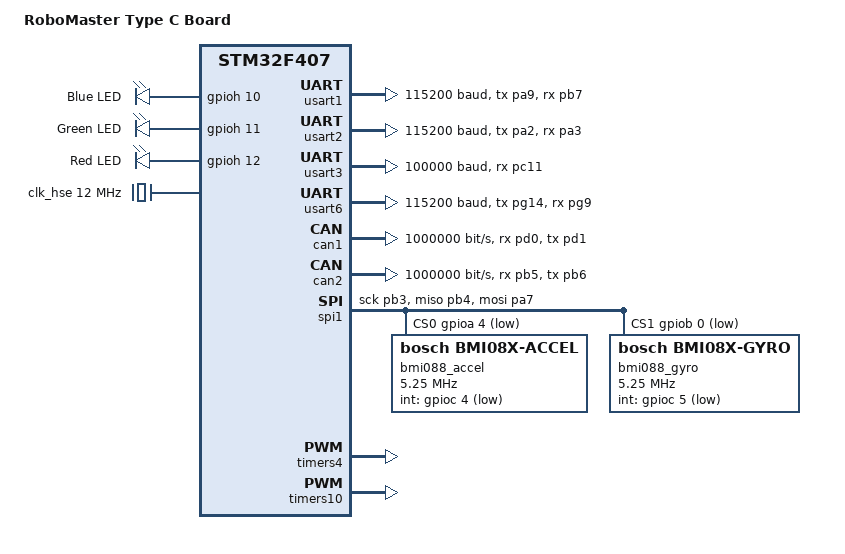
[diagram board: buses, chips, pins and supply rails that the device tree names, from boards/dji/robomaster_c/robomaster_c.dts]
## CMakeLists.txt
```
cmake_minimum_required(VERSION 3.20.0)

find_package(Zephyr REQUIRED HINTS $ENV{ZEPHYR_BASE})
project(unit5_app)

target_sources(app PRIVATE
	src/main.c
	src/dm4310_motor.c
	src/shell_commands.c
	src/linkage_kinematics.c
	src/leg_control.c
	src/motor_debug.c
	src/robot_ctrl.c
	src/protocol_service.c
	src/kinematics_test.c
)
```

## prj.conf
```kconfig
CONFIG_CAN=y
CONFIG_SERIAL=y
CONFIG_UART_ASYNC_API=y
CONFIG_UART_INTERRUPT_DRIVEN=y
CONFIG_PRINTK=y
CONFIG_CBPRINTF_FP_SUPPORT=y
CONFIG_GPIO=y
CONFIG_DMA=y

# Zephyr Shell (串口命令调试)
CONFIG_SHELL=y
CONFIG_SHELL_BACKEND_SERIAL=y
CONFIG_SHELL_STACK_SIZE=3072
CONFIG_KERNEL_SHELL=y

# CMSIS-DSP (arm_sqrt_f32 硬件开方加速)
CONFIG_CMSIS_DSP=y
CONFIG_CMSIS_DSP_FASTMATH=y
CONFIG_CMSIS_DSP_BASICMATH=y
```

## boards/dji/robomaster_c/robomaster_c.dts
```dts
/*
 * SPDX-License-Identifier: Apache-2.0
 *
 * Unit5 串口调试 DTS — USART6 @ 115200 (USB-TTL CH340 直连 PG14/PG9)
 * 注意: 板子丝印 UART1 (3-pin) 实际对应 STM32 USART6
 */

/dts-v1/;

#include <st/f4/stm32f407Xg.dtsi>
#include <st/f4/stm32f407i(e-g)hx-pinctrl.dtsi>
#include <zephyr/dt-bindings/dma/stm32_dma.h>
#include <zephyr/dt-bindings/gpio/gpio.h>

/ {
	model = "RoboMaster Type C Board";
	compatible = "dji,robomaster-c", "st,stm32f407";

	chosen {
		zephyr,console = &usart6;
		zephyr,shell-uart = &usart6;
		zephyr,sram = &sram0;
		zephyr,flash = &flash0;
		zephyr,dtcm = &ccm0;
		zephyr,canbus = &can1;
	};

	aliases {
		led0 = &blue_led;
		led1 = &green_led;
		led2 = &red_led;
		watchdog0 = &iwdg;
	};

	leds {
		compatible = "gpio-leds";

		blue_led: led_0 {
			gpios = <&gpioh 10 GPIO_ACTIVE_HIGH>;
			label = "Blue LED";
		};

		green_led: led_1 {
			gpios = <&gpioh 11 GPIO_ACTIVE_HIGH>;
			label = "Green LED";
		};

		red_led: led_2 {
			gpios = <&gpioh 12 GPIO_ACTIVE_HIGH>;
			label = "Red LED";
		};
	};
};

&clk_hse {
	clock-frequency = <DT_FREQ_M(12)>;
	status = "okay";
};

&pll {
	div-m = <6>;
	mul-n = <168>;
	div-p = <2>;
	div-q = <7>;
	clocks = <&clk_hse>;
	status = "okay";
};

&rcc {
	clocks = <&pll>;
	clock-frequency = <DT_FREQ_M(168)>;
	ahb-prescaler = <1>;
	apb1-prescaler = <4>;
	apb2-prescaler = <2>;
};

&usart1 {
	pinctrl-0 = <&usart1_tx_pa9 &usart1_rx_pb7>;
	pinctrl-names = "default";
	current-speed = <115200>;
	status = "okay";
};

&usart2 {
	pinctrl-0 = <&usart2_tx_pa2 &usart2_rx_pa3>;
	pinctrl-names = "default";
	current-speed = <115200>;
	status = "okay";
};

&usart3 {
	pinctrl-0 = <&usart3_rx_pc11>;
	pinctrl-names = "default";
	current-speed = <100000>;
	dmas = <&dma1 3 4 STM32_DMA_PERIPH_TX STM32_DMA_FIFO_FULL>,
	       <&dma1 1 4 (STM32_DMA_PERIPH_RX | STM32_DMA_MODE_CYCLIC) STM32_DMA_FIFO_FULL>;
	dma-names = "tx", "rx";
	status = "okay";
};

&dma1 {
	status = "okay";
};

&usart6 {
	pinctrl-0 = <&usart6_tx_pg14 &usart6_rx_pg9>;
	pinctrl-names = "default";
	current-speed = <115200>;
	status = "okay";
};

&can1 {
	pinctrl-0 = <&can1_rx_pd0 &can1_tx_pd1>;
	pinctrl-names = "default";
	bitrate = <1000000>;
	status = "okay";
};

&can2 {
	pinctrl-0 = <&can2_rx_pb5 &can2_tx_pb6>;
	pinctrl-names = "default";
	bitrate = <1000000>;
	status = "okay";
};

&flash0 {
	partitions {
		compatible = "fixed-partitions";
		#address-cells = <1>;
		#size-cells = <1>;

		code_partition: partition@0 {
			label = "image-0";
			reg = <0x00000000 0x000c0000>;
		};

		storage_partition: partition@c0000 {
			label = "storage";
			reg = <0x000c0000 0x00040000>;
		};
	};
};

&spi1 {
	pinctrl-0 = <&spi1_sck_pb3 &spi1_miso_pb4 &spi1_mosi_pa7>;
	pinctrl-names = "default";
	cs-gpios = <&gpioa 4 GPIO_ACTIVE_LOW>,
		   <&gpiob 0 GPIO_ACTIVE_LOW>;
	status = "okay";

	bmi088_accel: bmi088-accel@0 {
		compatible = "bosch,bmi08x-accel";
		reg = <0>;
		spi-max-frequency = <5250000>;
		spi-cpol;
		spi-cpha;
		int-gpios = <&gpioc 4 GPIO_ACTIVE_LOW>;
		int1-map-io = <0x01>;
		int1-conf-io = <0x08>;
		int2-map-io = <0x01>;
		int2-conf-io = <0x08>;
		accel-hz = "800";
		accel-fs = <3>;
	};

	bmi088_gyro: bmi088-gyro@1 {
		compatible = "bosch,bmi08x-gyro";
		reg = <1>;
		spi-max-frequency = <5250000>;
		spi-cpol;
		spi-cpha;
		int-gpios = <&gpioc 5 GPIO_ACTIVE_LOW>;
		int3-4-map-io = <0x01>;
		int3-4-conf-io = <0x00>;
		gyro-hz = "1000_116";
		gyro-fs = <2000>;
	};
};

&timers4 {
	status = "okay";

	buzzer_pwm: pwm {
		pinctrl-0 = <&tim4_ch3_pd14>;
		pinctrl-names = "default";
		status = "okay";
	};
};

&timers10 {
	status = "okay";

	imu_heater_pwm: pwm {
		pinctrl-0 = <&tim10_ch1_pf6>;
		pinctrl-names = "default";
		status = "okay";
	};
};
```

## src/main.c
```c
/**
 * @file main.c
 * @brief Unit5 — DM4310 500Hz 控制固件 + DWT 性能分析
 *
 * 500Hz 固定周期控制循环 (DWT CYCCNT 忙等)。
 * CSV 角度流输出降频至 50Hz (每 10 tick 输出一行)。
 * GPIO PH13 用作分析引脚: 控制循环入口 HIGH, 出口 LOW。
 *
 * CSV 格式: t_ms,m1,m2,m3,m4,t1,t2,t3,t4,pitch,pitch_rate,dt_us
 *   pitch / pitch_rate: BMI088 暂未接入, 填 0
 *   dt_us: 本 tick 控制循环耗时 (DWT 实测, us)
 */

#include "dm4310_motor.h"
#include "motor_debug.h"
#include "robot_ctrl.h"
#include "protocol_service.h"
#include "leg_control.h"
#include "linkage_kinematics.h"

#include <stdio.h>
#include <stdbool.h>

#include <zephyr/kernel.h>
#include <zephyr/sys/printk.h>
#include <zephyr/shell/shell.h>

extern const struct shell *g_motor_shell;
extern bool g_csv_enabled;

/* === DWT 周期计数器 (CMSIS 提供 DWT/CoreDebug 寄存器定义) === */

/* === GPIO 分析引脚 PH13 ===
 * 控制循环入口 HIGH, 出口 LOW, 示波器测量真实控制耗时  */
#define PROFILE_GPIO_BASE  0x40021C00UL
#define PROFILE_MODER  (*(volatile uint32_t *)(PROFILE_GPIO_BASE))
#define PROFILE_BSRR   (*(volatile uint32_t *)(PROFILE_GPIO_BASE + 0x18))
#define PROFILE_PIN    13

#define PROFILE_HIGH()  (PROFILE_BSRR = (1U << PROFILE_PIN))
#define PROFILE_LOW()   (PROFILE_BSRR = (1U << (PROFILE_PIN + 16)))

/* === 控制周期 === */
#define CTRL_FREQ_HZ    500
#define SYS_CORE_FREQ   168000000UL
#define CYCLES_PER_TICK (SYS_CORE_FREQ / CTRL_FREQ_HZ)  /* 336000 = 2ms */
#define CSV_PERIOD_TICKS 10   /* 500Hz / 10 = 50Hz CSV */
#define TLM_PERIOD_TICKS 20   /* 500Hz / 20 = 25Hz 遥测 */
#define TLM_OFFSET_TICKS 5    /* 遥测与 CSV 错开 10ms, 避免同时 shell_print */

static void dwt_init(void)
{
	CoreDebug->DEMCR |= CoreDebug_DEMCR_TRCENA_Msk;
	DWT->CYCCNT = 0;
	DWT->CTRL |= DWT_CTRL_CYCCNTENA_Msk;
}

static void profile_pin_init(void)
{
	/* PH13: output push-pull */
	PROFILE_MODER = (PROFILE_MODER & ~(3U << (PROFILE_PIN * 2))) |
			(1U << (PROFILE_PIN * 2));
}

int main(void)
{
	printk("=== Unit5 DM4310 500Hz Control ===\n");

	dwt_init();
	profile_pin_init();

	int ret = dm4310_init();
	if (ret < 0) {
		printk("DM4310 init failed: %d\n", ret);
		return ret;
	}
	printk("DM4310 driver initialized\n");

	proto_init();

	uint32_t next_wake = DWT->CYCCNT;
	uint16_t tick_count = 0;
	bool bringup_reported = false;
	uint32_t loop_start, loop_end, loop_dt_us = 0;

	while (1) {
		PROFILE_HIGH();
		loop_start = DWT->CYCCNT;

		dm4310_poll_rx();

		/* GDB 调试命令 */
		for (int g = 0; g < DM4310_MOTOR_COUNT; g++) {
			uint8_t cmd = g_gdb_cmd[g];
			if (cmd == GDB_CMD_ENABLE) {
				dm4310_enable_motor((uint8_t)(g + 1));
				g_gdb_cmd[g] = GDB_CMD_NONE;
			} else if (cmd == GDB_CMD_DISABLE) {
				dm4310_disable_motor((uint8_t)(g + 1));
				g_gdb_cmd[g] = GDB_CMD_NONE;
			} else if (cmd == GDB_CMD_ZERO) {
				dm4310_zero_motor((uint8_t)(g + 1));
				g_gdb_cmd[g] = GDB_CMD_NONE;
			}
		}

		if (g_dm4310.bringup_done) {
			if (!bringup_reported) {
				printk("Bringup done. online=0x%x\n",
				       g_dm4310.online_mask);
				/* 拖动模式: 极小增益, 可手拽 */
				for (int i = 0; i < DM4310_MOTOR_COUNT; i++) {
					g_dm4310.hold_pos_rad[i] = g_dm4310.motor[i].pos_rad;
					g_dm4310.hold_kp[i] = 0.01f;
					g_dm4310.hold_kd[i] = 0.001f;
				}
				g_dm4310.hold_updates = 1U;
				printk("DRAG mode ready. Run 'robot cali' to calibrate.\n");
				bringup_reported = true;
			}
		}

		dm4310_tick();

		loop_end = DWT->CYCCNT;
		/* DWT 实测本 tick 控制耗时 (含 CAN 发送, 不含忙等) */
		loop_dt_us = (loop_end - loop_start) * 1000000UL / SYS_CORE_FREQ;

		/* CSV 50Hz (tick 0,10,20...) + 遥测 25Hz (tick 5,25,45...) */
		if (tick_count % CSV_PERIOD_TICKS == 0) {
			uint32_t now = k_uptime_get_32();

			if (g_csv_enabled && g_motor_shell != NULL) {
				shell_print(g_motor_shell,
					"%u,%.4f,%.4f,%.4f,%.4f,%.3f,%.3f,%.3f,%.3f,%.4f,%.2f,%u",
					now,
					(double)g_dm4310.motor[0].pos_rad,
					(double)g_dm4310.motor[1].pos_rad,
					(double)g_dm4310.motor[2].pos_rad,
					(double)g_dm4310.motor[3].pos_rad,
					(double)g_dm4310.motor[0].torque_nm,
					(double)g_dm4310.motor[1].torque_nm,
					(double)g_dm4310.motor[2].torque_nm,
					(double)g_dm4310.motor[3].torque_nm,
					0.0, 0.0,   /* pitch, pitch_rate: BMI088 暂未接入 */
					loop_dt_us);
			}
		}

		if ((tick_count + TLM_OFFSET_TICKS) % TLM_PERIOD_TICKS == 0) {
			if (g_telemetry_enabled && g_motor_shell != NULL) {
				uint32_t now = k_uptime_get_32();
				telemetry_print(g_motor_shell, now, 0.0f, 0.0f, 0.0f);
			}
			proto_telemetry_tick();
		}

		tick_count++;

		PROFILE_LOW();

		/* DWT 忙等至下一个 2ms 边界 (处理 32-bit 翻转) */
		next_wake += CYCLES_PER_TICK;
		while ((int32_t)(DWT->CYCCNT - next_wake) < 0) {
			/* busy-wait */
		}
	}
}
```

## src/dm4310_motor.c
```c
/**
 * @file dm4310_motor.c
 * @brief DM-J4310-2EC 电机 MIT 协议驱动实现
 *
 * 基于 Zephyr RTOS CAN 子系统实现的 DM4310 关节电机驱动。
 * 支持四台电机（CAN1: 电机1-2 左腿 / CAN2: 电机3-4 右腿），
 * MIT 位置控制协议，bringup 状态机，位置保持及零点标定。
 *
 * Bringup 流程（每台电机 staggered 执行，每 tick 只处理一台）：
 * Step 0: 写 MIT 模式寄存器（StdId 0x7FF）
 * Step 1: 发送 DISABLE（10 tick）
 * Step 2: 发送 ENABLE（10 tick）
 * 总计约 84 tick × 2ms = ~170ms
 *
 * MIT 控制律：
 *   torque = KP × (p_des - p_act) + KD × (v_des - v_act) + T_ff
 * KP=0, KD=0 时输出零力矩，电机可被外力自由拖动且不会回弹。
 */

#include "dm4310_motor.h"

#include <errno.h>
#include <math.h>
#include <string.h>

#include <zephyr/device.h>
#include <zephyr/devicetree.h>
#include <zephyr/kernel.h>
#include <zephyr/sys/util.h>

/* CAN 反馈帧由 ISR 拷贝到 ring buffer，主循环 drain_rx 解码 (浮点在主循环) */

#define DM4310_CTRL_MODE_MIT 1U
#define DM4310_REG_CTRL_MODE 0x0AU
#define DM4310_REG_WRITE_ID 0x7FFU

volatile struct dm4310_driver g_dm4310 = {
	.magic = DM4310_MAGIC,
};

/* GDB 命令队列，主循环消费 */
volatile uint8_t g_gdb_cmd[DM4310_MOTOR_COUNT];

/* 电机零点偏置 + 平衡环 Pitch 零点 */
float g_dm_offset[DM4310_MOTOR_COUNT];
float g_balance_pitch_zero_rad;

static const struct device *can1_dev;
static const struct device *can2_dev;

/* ISR → 主循环原始 CAN 帧环形缓冲 (ISR 仅做 memcpy, 浮点解码在主循环) */
#define RAW_FRAME_BUF_SIZE 32
static struct {
	struct can_frame frame;
} raw_frame_buf[RAW_FRAME_BUF_SIZE];
static volatile uint8_t raw_buf_write_idx;
static uint8_t raw_buf_read_idx;

static int dm4310_send_raw(uint16_t std_id, const uint8_t data[8]);

static inline const struct device *motor_idx_to_can(uint8_t motor_idx)
{
	return (motor_idx < DM4310_MOTORS_ON_CAN1) ? can1_dev : can2_dev;
}

static inline uint8_t motor_idx_to_can_id(uint8_t motor_idx)
{
	return (uint8_t)(DM4310_CAN_TX_ID_BASE + motor_idx);
}

static bool dm4310_feedback_id_to_idx(uint16_t std_id, uint8_t *idx)
{
	if (std_id >= DM4310_MASTER_ID_BASE &&
	    std_id < (DM4310_MASTER_ID_BASE + DM4310_MOTOR_COUNT)) {
		*idx = (uint8_t)(std_id - DM4310_MASTER_ID_BASE);
		return true;
	}

	if (std_id >= DM4310_CAN_TX_ID_BASE &&
	    std_id < (DM4310_CAN_TX_ID_BASE + DM4310_MOTOR_COUNT)) {
		*idx = (uint8_t)(std_id - DM4310_CAN_TX_ID_BASE);
		return true;
	}

	return false;
}

/**
 * @brief CAN RX 中断回调 — 仅拷贝原始帧到 ring buffer
 *
 * ISR 内不做浮点解析/过滤，只 memcpy 8 字节 CAN 数据到环形缓冲。
 * 过滤和浮点解码在主循环 drain_rx() 中完成。
 */
static void dm4310_can_rx_callback(const struct device *dev, struct can_frame *frame,
				   void *user_data)
{
	uint8_t w = raw_buf_write_idx;

	/* ISR 只做纯数据拷贝, 无分支过滤, 无浮点 */
	memcpy(&raw_frame_buf[w].frame, frame, sizeof(*frame));

	w++;
	if (w >= RAW_FRAME_BUF_SIZE) {
		w = 0;
	}
	raw_buf_write_idx = w;
}

static void put_le_u32(uint8_t data[4], uint32_t value)
{
	data[0] = (uint8_t)value;
	data[1] = (uint8_t)(value >> 8);
	data[2] = (uint8_t)(value >> 16);
	data[3] = (uint8_t)(value >> 24);
}

static int dm4310_write_u32_register(uint8_t motor_idx, uint8_t reg, uint32_t value)
{
	uint8_t data[8];
	struct can_frame frame;
	int ret;

	data[0] = motor_idx_to_can_id(motor_idx);
	data[1] = 0U;
	data[2] = 0x55U;
	data[3] = reg;
	put_le_u32(&data[4], value);

	memset(&frame, 0, sizeof(frame));
	frame.id = DM4310_REG_WRITE_ID;
	frame.dlc = 8;
	memcpy(frame.data, data, 8);

	ret = can_send(motor_idx_to_can(motor_idx), &frame, K_MSEC(2), NULL, NULL);
	g_dm4310.last_send_ret = ret;

	return ret;
}

static float clampf(float v, float lo, float hi)
{
	if (v < lo) return lo;
	if (v > hi) return hi;
	return v;
}

static uint16_t float_to_uint(float x, float x_min, float x_max, int bits)
{
	float span, offset, scaled;
	uint32_t levels;

	x = clampf(x, x_min, x_max);
	span = x_max - x_min;
	offset = x - x_min;
	levels = ((uint32_t)1u << (uint32_t)bits) - 1u;
	scaled = offset * (float)levels / span;
	return (uint16_t)(scaled + 0.5f);
}

static float uint_to_float(int x_int, float x_min, float x_max, int bits)
{
	float span;
	uint32_t levels;

	span = x_max - x_min;
	levels = ((uint32_t)1u << (uint32_t)bits) - 1u;
	return ((float)x_int * span / (float)levels) + x_min;
}

/**
 * @brief 打包 MIT 协议特殊指令帧
 *
 * 前 7 字节填充 0xFF，第 8 字节为指令尾字节。
 * 用于 DISABLE(0xFD)、ENABLE(0xFC)、ZERO(0xFE) 等非数值控制指令。
 *
 * @param tail 指令尾字节
 * @param[out] data 8 字节帧缓冲区
 */
void dm4310_pack_special(uint8_t tail, uint8_t data[8])
{
	memset(data, 0xFF, 7);
	data[7] = tail;
}

/**
 * @brief 打包 MIT 协议位置控制帧
 *
 * 将浮点控制参数按 MIT 协议位宽编码为 8 字节 CAN 帧：
 * - 位置 (16-bit): data[0:1]
 * - 速度 (12-bit): data[2:3] 高 4 位
 * - KP   (12-bit): data[3] 低 4 位 + data[4]
 * - KD   (12-bit): data[5:6] 高 4 位
 * - 力矩 (12-bit): data[6] 低 4 位 + data[7]
 *
 * @param pos 目标位置（弧度, -12.5 ~ +12.5）
 * @param vel 目标速度（弧度/秒, -30 ~ +30）
 * @param kp  位置刚度（0 ~ 500）
 * @param kd  速度阻尼（0 ~ 5）
 * @param tor 前馈力矩（Nm, -10 ~ +10）
 * @param[out] data 8 字节帧缓冲区
 */
void dm4310_pack_control(float pos, float vel, float kp, float kd, float tor,
			 uint8_t data[8])
{
	uint16_t p_int, v_int, kp_int, kd_int, t_int;

	p_int = float_to_uint(pos, DM4310_P_MIN, DM4310_P_MAX, 16);
	v_int = float_to_uint(vel, DM4310_V_MIN, DM4310_V_MAX, 12);
	kp_int = float_to_uint(kp, DM4310_KP_MIN, DM4310_KP_MAX, 12);
	kd_int = float_to_uint(kd, DM4310_KD_MIN, DM4310_KD_MAX, 12);
	t_int = float_to_uint(tor, DM4310_T_MIN, DM4310_T_MAX, 12);

	data[0] = (uint8_t)(p_int >> 8);
	data[1] = (uint8_t)(p_int & 0xFFU);
	data[2] = (uint8_t)(v_int >> 4);
	data[3] = (uint8_t)(((v_int & 0x0FU) << 4) | (uint8_t)(kp_int >> 8));
	data[4] = (uint8_t)(kp_int & 0xFFU);
	data[5] = (uint8_t)(kd_int >> 4);
	data[6] = (uint8_t)(((kd_int & 0x0FU) << 4) | (uint8_t)(t_int >> 8));
	data[7] = (uint8_t)(t_int & 0xFFU);
}

static int dm4310_send_raw(uint16_t std_id, const uint8_t data[8])
{
	struct can_frame frame;
	int ret;
	uint8_t motor_idx = (uint8_t)(std_id - DM4310_CAN_TX_ID_BASE);

	memset(&frame, 0, sizeof(frame));
	frame.id = std_id;
	frame.dlc = 8;
	memcpy(frame.data, data, 8);

	ret = can_send(motor_idx_to_can(motor_idx), &frame, K_MSEC(2), NULL, NULL);
	g_dm4310.last_send_ret = ret;

	return ret;
}

/**
 * @brief 从消息队列取出所有待处理 CAN 帧并解析
 *
 * 跳过寄存器读写/保存响应帧（data[2] = 0x55/0x33/0xAA），
 * 其余帧作为电机反馈解码并更新对应电机状态。
 */
/**
 * @brief 从 ISR ring buffer 消费原始帧并解码 (浮点运算在主循环)
 *
 * ISR 只做 memcpy 到 raw_frame_buf，所有过滤、位操作和浮点转换在此完成。
 */
static void drain_rx(void)
{
	uint8_t r = raw_buf_read_idx;
	uint8_t w = raw_buf_write_idx;
	struct can_frame *frame;
	int p_int, v_int, t_int;
	uint8_t idx;

	while (r != w) {
		frame = &raw_frame_buf[r].frame;

		/* 过滤寄存器读写响应帧 (StdId 0x7FF) */
		if (frame->data[2] == 0x55U || frame->data[2] == 0x33U ||
		    frame->data[2] == 0xAAU) {
			goto next;
		}


		if (!dm4310_feedback_id_to_idx(frame->id, &idx)) {
			goto next;
		}

		/* 位操作 + 浮点转换 (主循环上下文, 非 ISR) */
		p_int = ((int)frame->data[1] << 8) | (int)frame->data[2];
		v_int = ((int)frame->data[3] << 4) | ((int)frame->data[4] >> 4);
		t_int = (((int)frame->data[4] & 0x0F) << 8) | (int)frame->data[5];

		g_dm4310.motor[idx].pos_rad    = uint_to_float(p_int, DM4310_P_MIN, DM4310_P_MAX, 16);
		g_dm4310.motor[idx].vel_radps  = uint_to_float(v_int, DM4310_V_MIN, DM4310_V_MAX, 12);
		g_dm4310.motor[idx].torque_nm  = uint_to_float(t_int, DM4310_T_MIN, DM4310_T_MAX, 12);
		g_dm4310.motor[idx].motor_state = frame->data[0] >> 4;
		g_dm4310.motor[idx].mos_temp   = frame->data[6];
		g_dm4310.motor[idx].coil_temp  = frame->data[7];
		g_dm4310.motor[idx].last_ms    = k_uptime_get_32();
		g_dm4310.motor[idx].rx_count++;
		g_dm4310.motor[idx].online     = 1U;

		/* 保存原始 CAN 帧 (诊断用) */
		memcpy((void *)g_dm4310.motor[idx].raw_frame, frame->data, 8);

	next:
		r++;
		if (r >= RAW_FRAME_BUF_SIZE) {
			r = 0;
		}
	}
	raw_buf_read_idx = r;
}

/**
 * @brief 刷新电机在线位掩码
 *
 * 检查每台电机：从未收到反馈或距上次反馈超过 DM4310_ONLINE_TIMEOUT_MS
 * 则标记为离线。更新 g_dm4310.online_mask 位掩码。
 */
static void refresh_online_mask(void)
{
	uint32_t mask = 0;
	uint32_t now = k_uptime_get_32();

	for (int i = 0; i < DM4310_MOTOR_COUNT; i++) {
		if (g_dm4310.motor[i].rx_count == 0U ||
		    (now - g_dm4310.motor[i].last_ms) > DM4310_ONLINE_TIMEOUT_MS) {
			g_dm4310.motor[i].online = 0;
		}
		if (g_dm4310.motor[i].online) {
			mask |= BIT(i);
		}
	}
	g_dm4310.online_mask = mask;
}

static int dm4310_init_bus(const struct device *dev)
{
	const struct can_filter filter = {
		.id = 0x000U,
		.mask = 0x000U,
		.flags = 0,
	};
	int ret;

	ret = can_stop(dev);
	if (ret < 0 && ret != -EALREADY && ret != -ENETDOWN) {
		return ret;
	}

	ret = can_set_mode(dev, CAN_MODE_ONE_SHOT);
	if (ret < 0) {
		return ret;
	}

	ret = can_start(dev);
	if (ret < 0) {
		return ret;
	}

	/* ISR 回调: CAN 帧到达后立即解析电机位置，零延迟 */
	ret = can_add_rx_filter(dev, dm4310_can_rx_callback, NULL, &filter);
	if (ret < 0) {
		return ret;
	}

	return 0;
}

/**
 * @brief 初始化 DM4310 驱动及双路 CAN 总线
 *
 * 初始化 CAN1 和 CAN2（1Mbps, ONE_SHOT 模式, 全通滤波器），
 * 所有电机默认 KP=90, KD=1.8。
 *
 * @return 0 成功，-ENODEV 表示 CAN 设备未就绪，其他负值表示 CAN 配置失败
 */
int dm4310_init(void)
{
	memset((void *)&g_dm4310, 0, sizeof(g_dm4310));
	g_dm4310.magic = DM4310_MAGIC;

	can1_dev = DEVICE_DT_GET(DT_NODELABEL(can1));
	if (!device_is_ready(can1_dev)) {
		g_dm4310.init_ret = -ENODEV;
		return -ENODEV;
	}

	can2_dev = DEVICE_DT_GET(DT_NODELABEL(can2));
	if (!device_is_ready(can2_dev)) {
		g_dm4310.init_ret = -ENODEV;
		return -ENODEV;
	}

	g_dm4310.init_ret = dm4310_init_bus(can1_dev);
	if (g_dm4310.init_ret < 0) {
		return g_dm4310.init_ret;
	}

	g_dm4310.init_ret = dm4310_init_bus(can2_dev);
	if (g_dm4310.init_ret < 0) {
		return g_dm4310.init_ret;
	}

	g_dm4310.ready = 1U;
	for (int i = 0; i < DM4310_MOTOR_COUNT; i++) {
		g_dm4310.hold_kp[i] = 0.01f;
		g_dm4310.hold_kd[i] = 0.001f;
	}

	return 0;
}

/**
 * @brief 轮询接收 CAN 反馈帧并更新在线状态
 *
 * 从消息队列中取出所有待处理 CAN 帧，解析电机反馈数据，
 * 更新各电机状态及在线掩码。
 */
void dm4310_poll_rx(void)
{
	drain_rx();
	refresh_online_mask();
}

/**
 * @brief 执行一个控制 tick
 *
 * 根据当前状态分阶段执行：
 * - Bringup 阶段：每次处理一台电机的 bringup 步骤（MIT 模式 → DISABLE → ZERO → ENABLE），
 *   四台电机 staggered 推进，避免 CAN 总线拥塞。
 * - 正常控制阶段：每次发送全部四台电机的 MIT 位置控制帧（10ms 间隔）。
 *
 * 正常控制模式下，通过 hold_updates 标志判断是否有待发送的目标：
 * - hold_updates > 0：使用 hold_pos_rad + hold_kp/hold_kd 发送位置保持指令
 * - hold_updates == 0：发送全零控制帧（电机失能等待）
 *
 * @return 最后一次 CAN 发送的返回值
 */
int dm4310_tick(void)
{
	uint8_t id;
	uint8_t idx;
	uint32_t step;
	uint32_t tick;
	uint8_t data[8];
	int ret = 0;

	if (g_dm4310.bringup_done) {
		/* 站立模式增益爬坡: 每 tick 向目标 KP/KD 线性逼近一步 */
		if (g_dm4310.balance_ramp_remaining > 0U) {
			g_dm4310.balance_ramp_remaining--;
			float progress = 1.0f - (float)g_dm4310.balance_ramp_remaining /
					   (float)g_dm4310.balance_ramp_total;
			for (int b = 0; b < DM4310_MOTOR_COUNT; b++) {
				g_dm4310.hold_kp[b] = 0.01f +
					(g_dm4310.balance_target_kp - 0.01f) * progress;
				g_dm4310.hold_kd[b] = 0.001f +
					(g_dm4310.balance_target_kd - 0.001f) * progress;
			}
		}

		/* 每 tick 发送全部 4 台电机 */
		for (int n = 0; n < DM4310_MOTOR_COUNT; n++) {
			if (g_dm4310.tx_index >= DM4310_MOTOR_COUNT) {
				g_dm4310.tx_index = 0;
			}
			idx = g_dm4310.tx_index;
			id = idx + 1U;

			/* KP=0 且 KD=0：禁用电机（比 MIT 零力矩帧更彻底，避免电机内部默认参数导致抖动） */
			if (g_dm4310.hold_kp[idx] == 0.0f && g_dm4310.hold_kd[idx] == 0.0f) {
				dm4310_pack_special(DM4310_CMD_DISABLE_TAIL, data);
			} else if (g_dm4310.hold_updates > 0U) {
				dm4310_pack_control(g_dm4310.hold_pos_rad[idx],
						    0.0f, g_dm4310.hold_kp[idx],
						    g_dm4310.hold_kd[idx], g_dm4310.feedforward_tau[idx], data);
			} else {
				dm4310_pack_control(0.0f, 0.0f, 0.0f, 0.0f, 0.0f,
						    data);
			}
			ret = dm4310_send_raw(DM4310_CAN_TX_ID_BASE + idx, data);
			g_dm4310.tx_index++;
		}
		g_dm4310.loops++;
		return ret;
	}

	/* Bringup: MIT register write -> DISABLE -> ENABLE.
	 * Do not send ZERO here: 0xFE persists the current output shaft
	 * position as zero inside the DM4310 and destroys absolute position
	 * continuity across power cycles.
	 */
	for (int i = 0; i < DM4310_MOTOR_COUNT; i++) {
		step = g_dm4310.bringup_step[i];
		tick = g_dm4310.bringup_tick[i];

		if (step >= 4U) {
			continue;
		}

		/* Step 0: write MIT mode register via StdId 0x7FF */
		if (step == 0U) {
			ret = dm4310_write_u32_register((uint8_t)i,
				DM4310_REG_CTRL_MODE, DM4310_CTRL_MODE_MIT);
			g_dm4310.bringup_step[i] = 1U;
			g_dm4310.bringup_tick[i] = 0U;
			g_dm4310.loops++;
			return ret;
		}

		if (step == 1U) {
			dm4310_pack_special(DM4310_CMD_DISABLE_TAIL, data);
		} else {
			dm4310_pack_special(DM4310_CMD_ENABLE_TAIL, data);
		}

		ret = dm4310_send_raw(DM4310_CAN_TX_ID_BASE + (uint16_t)i, data);
		tick++;
		if (tick >= DM4310_BRINGUP_TICKS) {
			g_dm4310.bringup_step[i] = step + 1U;
			if (g_dm4310.bringup_step[i] >= 3U) {
				continue;
			}
			g_dm4310.bringup_tick[i] = 0U;
		} else {
			g_dm4310.bringup_tick[i] = tick;
		}
		g_dm4310.loops++;
		return ret;
	}

	/*
	 * 检查所有电机是否完成 bringup。
	 * 注意：最后一个电机 ENABLE 完成后，需额外一个 tick 才能在这里检测到并设置 bringup_done。
	 */
	uint8_t all_done = 1U;
	for (int i = 0; i < DM4310_MOTOR_COUNT; i++) {
		if (g_dm4310.bringup_step[i] < 3U) {
			all_done = 0U;
			break;
		}
	}
	g_dm4310.bringup_done = all_done;
	g_dm4310.loops++;
	return ret;
}

void dm4310_hold_reset(void)
{
	g_dm4310.hold_updates = 0;
	memset((void *)g_dm4310.hold_pos_rad, 0, sizeof(g_dm4310.hold_pos_rad));
}

/**
 * @brief 紧急停止所有电机
 *
 * 向四台电机发送 DISABLE 指令并清除位置保持目标。
 * 用于异常停机或安全保护场景。
 */
void dm4310_stop_all(void)
{
	uint8_t data[8];

	dm4310_pack_special(DM4310_CMD_DISABLE_TAIL, data);
	for (int i = 0; i < DM4310_MOTOR_COUNT; i++) {
		(void)dm4310_send_raw(DM4310_CAN_TX_ID_BASE + (uint16_t)i, data);
	}

	/*
	 * 清空所有控制状态，防止后续 tick 以非零 KP/KD 发送 MIT 帧。
	 * hold_reset 只清 hold_updates 和 hold_pos_rad，这里补清零增益
	 * 和斜坡，确保 dm4310_tick() 走 DISABLE 分支。
	 */
	dm4310_hold_reset();
	for (int i = 0; i < DM4310_MOTOR_COUNT; i++) {
		g_dm4310.hold_kp[i] = 0.0f;
		g_dm4310.hold_kd[i] = 0.0f;
	}
	g_dm4310.balance_ramp_remaining = 0U;
}

int dm4310_enable_motor(uint8_t motor_id)
{
	if (motor_id < 1U || motor_id > DM4310_MOTOR_COUNT) {
		return -EINVAL;
	}
	uint8_t idx = motor_id - 1U;
	g_dm4310.hold_kp[idx] = 0.01f;
	g_dm4310.hold_kd[idx] = 0.001f;
	g_dm4310.hold_pos_rad[idx] = g_dm4310.motor[idx].pos_rad;
	g_dm4310.hold_updates = 1U;

	uint8_t data[8];
	dm4310_pack_special(DM4310_CMD_ENABLE_TAIL, data);
	return dm4310_send_raw(DM4310_CAN_TX_ID_BASE + idx, data);
}

int dm4310_disable_motor(uint8_t motor_id)
{
	if (motor_id < 1U || motor_id > DM4310_MOTOR_COUNT) {
		return -EINVAL;
	}
	uint8_t idx = motor_id - 1U;
	g_dm4310.hold_kp[idx] = 0.0f;
	g_dm4310.hold_kd[idx] = 0.0f;

	uint8_t data[8];
	dm4310_pack_special(DM4310_CMD_DISABLE_TAIL, data);
	return dm4310_send_raw(DM4310_CAN_TX_ID_BASE + idx, data);
}

int dm4310_zero_motor(uint8_t motor_id)
{
	if (motor_id < 1U || motor_id > DM4310_MOTOR_COUNT) {
		return -EINVAL;
	}
	uint8_t idx = motor_id - 1U;
	g_dm4310.hold_kp[idx] = 0.01f;
	g_dm4310.hold_kd[idx] = 0.001f;
	g_dm4310.hold_pos_rad[idx] = 0.0f;

	uint8_t data[8];
	dm4310_pack_special(DM4310_CMD_ZERO_TAIL, data);
	return dm4310_send_raw(DM4310_CAN_TX_ID_BASE + idx, data);
}

bool dm4310_is_online(uint8_t motor_id)
{
	if (motor_id < 1U || motor_id > DM4310_MOTOR_COUNT) {
		return false;
	}
	return g_dm4310.motor[motor_id - 1U].online != 0U;
}

const volatile struct dm4310_motor_status *dm4310_get(uint8_t motor_id)
{
	if (motor_id < 1U || motor_id > DM4310_MOTOR_COUNT) {
		return NULL;
	}
	return &g_dm4310.motor[motor_id - 1U];
}

int dm4310_set_pos_with_offset(uint8_t motor_id, float target_kin)
{
	if (motor_id < 1U || motor_id > DM4310_MOTOR_COUNT) {
		return -EINVAL;
	}
	uint8_t idx = motor_id - 1U;
	float target = target_kin + g_dm_offset[idx];

	/* 最后一层物理限幅，不相信运动学 Agent 的数值 */
	if (target > DM4310_P_MAX) target = DM4310_P_MAX;
	else if (target < DM4310_P_MIN) target = DM4310_P_MIN;

	g_dm4310.hold_pos_rad[idx] = target;
	g_dm4310.hold_updates = 1U;
	return 0;
}

void dm4310_set_feedforward_tau(uint8_t motor_id, float tau_nm)
{
	if (motor_id < 1U || motor_id > DM4310_MOTOR_COUNT) return;
	g_dm4310.feedforward_tau[motor_id - 1U] = tau_nm;
}

float dm4310_get_hold_pos(uint8_t motor_id)
{
	if (motor_id < 1U || motor_id > DM4310_MOTOR_COUNT) return 0.0f;
	return g_dm4310.hold_pos_rad[motor_id - 1U];
}

int dm4310_balance_enable(uint32_t ramp_ticks)
{
	if (!g_dm4310.bringup_done) {
		return -EAGAIN;
	}

	/* 以当前位置设为目标，避免使能瞬间位置阶跃 */
	for (int i = 0; i < DM4310_MOTOR_COUNT; i++) {
		g_dm4310.hold_pos_rad[i] = g_dm4310.motor[i].pos_rad;
	}
	g_dm4310.hold_updates = 1U;

	/* 设置站立增益目标，dm4310_tick() 内每 tick 自动爬坡 */
	g_dm4310.balance_target_kp = 80.0f;
	g_dm4310.balance_target_kd = 1.5f;
	g_dm4310.balance_ramp_total = ramp_ticks;
	g_dm4310.balance_ramp_remaining = ramp_ticks;

	return 0;
}
```

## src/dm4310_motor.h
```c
/**
 * @file dm4310_motor.h
 * @brief DM-J4310-2EC 电机 MIT 协议驱动
 *
 * 基于 Zephyr RTOS 的 DM4310 关节电机 CAN 总线驱动。
 * 支持四台电机（CAN1 两台 + CAN2 两台），实现 MIT 位置控制协议，
 * 包含上电 bringup 序列、位置保持控制、零点标定等功能。
 *
 * MIT 协议数值范围：
 * - 位置：-12.5 ~ +12.5 rad
 * - 速度：-30.0 ~ +30.0 rad/s
 * - KP：0.0 ~ 500.0
 * - KD：0.0 ~ 5.0
 * - 力矩：-10.0 ~ +10.0 Nm
 *
 * @note 控制模式：MIT 位置控制（寄存器 0x0A = 1）
 * @note CAN 波特率：1 Mbps
 */

#ifndef DM4310_MOTOR_H_
#define DM4310_MOTOR_H_

#include <stdbool.h>
#include <stdint.h>

#include <zephyr/drivers/can.h>

/** @brief 驱动魔术字，用于运行时校验结构体完整性 */
#define DM4310_MAGIC 0x444d3433

/** @brief 电机总数 */
#define DM4310_MOTOR_COUNT 4

/** @brief 零点标定涉及的电机数 */
#define DM4310_HOME_MOTOR_COUNT 4

/** @brief 控制帧 CAN ID 基址（CAN ID = BASE + motor_index）
 *  M1..M4 对应 CAN ID 5..8 (避开 3508 的 1..4) */
#define DM4310_CAN_TX_ID_BASE 5U

/** @brief 反馈帧 Master ID 基址（建议 Master ID = CAN ID + 0x10, M1..M4 = 0x15..0x18） */
#define DM4310_MASTER_ID_BASE 0x15U

/** @brief CAN1 上的电机数量（左腿） */
#define DM4310_MOTORS_ON_CAN1  2U

/** @brief 电机在线超时时间（毫秒），超时未收到反馈则标记离线 */
#define DM4310_ONLINE_TIMEOUT_MS 500

/* === MIT 协议数值范围 === */

/** @brief 位置下限（弧度） */
#define DM4310_P_MIN  (-12.5f)
/** @brief 位置上限（弧度） */
#define DM4310_P_MAX  12.5f
/** @brief 速度下限（弧度/秒） */
#define DM4310_V_MIN  (-30.0f)
/** @brief 速度上限（弧度/秒） */
#define DM4310_V_MAX  30.0f
/** @brief KP 下限 */
#define DM4310_KP_MIN 0.0f
/** @brief KP 上限 */
#define DM4310_KP_MAX 500.0f
/** @brief KD 下限 */
#define DM4310_KD_MIN 0.0f
/** @brief KD 上限 */
#define DM4310_KD_MAX 5.0f
/** @brief 力矩下限（Nm） */
#define DM4310_T_MIN  (-10.0f)
/** @brief 力矩上限（Nm） */
#define DM4310_T_MAX  10.0f

/* === MIT 协议特殊指令尾字节 === */

/** @brief 电机使能指令尾字节 */
#define DM4310_CMD_ENABLE_TAIL  0xFC
/** @brief 电机禁用指令尾字节 */
#define DM4310_CMD_DISABLE_TAIL 0xFD
/** @brief 电机零点标定指令尾字节 */
#define DM4310_CMD_ZERO_TAIL    0xFE

/**
 * @brief Bringup 每步骤持续 tick 数
 *
 * 每 tick 向单台电机发送一帧指令，10 tick 确保电机充分响应。
 * 四台电机 staggered 执行，bringup 总耗时约 4×31×2ms ≈ 250ms。
 */
#define DM4310_BRINGUP_TICKS 10

/**
 * @brief 单台电机状态
 *
 * 由反馈帧解析填充，记录电机的实时位置、速度、力矩及温度信息。
 */
struct dm4310_motor_status {
	uint32_t rx_count;      /**< 累计接收反馈帧数 */
	uint32_t last_ms;       /**< 最后一次收到反馈的时间戳（毫秒） */
	uint8_t online;         /**< 在线标志（0 = 离线, 1 = 在线） */
	uint8_t motor_state;    /**< 电机状态码（反馈帧 D0[7:4]） */
	uint8_t mos_temp;       /**< MOS 管温度（摄氏度） */
	uint8_t coil_temp;      /**< 线圈温度（摄氏度） */
	float pos_rad;          /**< 当前位置（弧度） */
	float vel_radps;        /**< 当前速度（弧度/秒） */
	float torque_nm;        /**< 当前力矩（Nm） */
	uint8_t raw_frame[8];   /**< 最近一帧原始 CAN 数据 (诊断用) */
};

/**
 * @brief DM4310 驱动全局状态
 *
 * 所有电机控制均通过此结构体的全局实例 g_dm4310 进行。
 * 包含 bringup 状态机、位置保持目标及每台电机的实时反馈数据。
 */
struct dm4310_driver {
	uint32_t magic;         /**< 魔术字 DM4310_MAGIC */
	uint32_t ready;         /**< 驱动就绪标志 */
	int32_t init_ret;       /**< 初始化返回值 */
	int32_t last_send_ret;  /**< 最后一次 CAN 发送返回值 */
	uint32_t loops;         /**< 主循环计数器 */
	uint32_t online_mask;   /**< 在线电机位掩码（BIT(0) = 电机1, ...） */
	uint32_t bringup_step[DM4310_MOTOR_COUNT];  /**< 每台电机 bringup 当前步骤（0-3, ≥4=完成） */
	uint32_t bringup_tick[DM4310_MOTOR_COUNT];  /**< 每台电机 bringup 步骤内 tick 计数 */
	uint8_t bringup_done;   /**< Bringup 完成标志（0 = 未完成, 1 = 完成） */
	uint8_t tx_index;       /**< 轮询发送索引（staggered 发送用） */
	uint8_t can1_home_valid;    /**< CAN1 零点是否有效 */
	uint8_t can1_home_auto_saved; /**< CAN1 零点是否已自动保存 */
	uint8_t can1_home_active;    /**< CAN1 零点标定是否激活 */
	uint16_t can1_home_enable_ticks; /**< CAN1 零点使能剩余 tick */
	int32_t can1_home_load_ret;  /**< 零点加载返回值 */
	int32_t can1_home_save_ret;  /**< 零点保存返回值 */
	float can1_home_pos_rad[DM4310_HOME_MOTOR_COUNT]; /**< CAN1 零点位置（弧度） */
	uint32_t hold_updates;  /**< 位置保持更新计数（>0 表示有待发送的目标位置） */
	float hold_kp[DM4310_MOTOR_COUNT];   /**< 每台电机保持 KP */
	float hold_kd[DM4310_MOTOR_COUNT];   /**< 每台电机保持 KD */
	float hold_pos_rad[DM4310_MOTOR_COUNT]; /**< 每台电机目标位置（弧度） */
	float feedforward_tau[DM4310_MOTOR_COUNT]; /**< 力矩前馈 (Nm, 由运动学计算) */
	float balance_target_kp;          /**< 站立模式目标 KP (斜坡终点) */
	float balance_target_kd;          /**< 站立模式目标 KD (斜坡终点) */
	uint32_t balance_ramp_remaining;  /**< 站立模式增益爬坡剩余 tick */
	uint32_t balance_ramp_total;      /**< 站立模式增益爬坡总 tick (线性插值分母) */
	struct dm4310_motor_status motor[DM4310_MOTOR_COUNT]; /**< 四台电机状态 */
};

/** @brief DM4310 驱动全局实例 */
extern volatile struct dm4310_driver g_dm4310;

/** @brief 电机零点偏置 (robot cali 设置)，下发目标时叠加 */
extern float g_dm_offset[DM4310_MOTOR_COUNT];

/** @brief 平衡环 Pitch 零点偏置 (balance pitch_zero 设置) */
extern float g_balance_pitch_zero_rad;

/* GDB 调试命令队列 (主循环消费，可被 GDB set 触发) */
#define GDB_CMD_NONE    0
#define GDB_CMD_ENABLE  1
#define GDB_CMD_DISABLE 2
#define GDB_CMD_ZERO    3
extern volatile uint8_t g_gdb_cmd[DM4310_MOTOR_COUNT];

/**
 * @brief 初始化 DM4310 驱动
 *
 * 初始化 CAN1/CAN2 总线（1Mbps, ONE_SHOT 模式, 全通滤波器）。
 * 所有电机默认 KP=90, KD=1.8。
 *
 * @return 0 成功，负值表示错误码（-ENODEV: CAN 设备未就绪）
 */
int dm4310_init(void);

/**
 * @brief 轮询接收 CAN 反馈帧
 *
 * 从消息队列中取出所有待处理的 CAN 帧，解析电机反馈数据，
 * 更新各电机状态及在线掩码。
 */
void dm4310_poll_rx(void);

/**
 * @brief 执行一个控制 tick
 *
 * Bringup 阶段：每次处理一台电机的 bringup 步骤（MIT 模式 → DISABLE → ZERO → ENABLE）。
 * 正常控制阶段：每次 staggered 发送两台电机的 MIT 位置控制帧。
 *
 * @return 最后一次 CAN 发送的返回值
 */
int dm4310_tick(void);

/**
 * @brief 保存 CAN1 零点位置到 Flash（当前项目禁用）
 * @return 0 成功，负值错误码
 */
int dm4310_save_can1_home_current(void);

/**
 * @brief 重置位置保持状态（清零所有目标位置和更新计数）
 */
void dm4310_hold_reset(void);

/**
 * @brief 紧急停止所有电机（向四台电机发送 DISABLE 指令）
 */
void dm4310_stop_all(void);

/**
 * @brief 使能单台电机（发送 ENABLE 指令 + 设置极小 hold 增益）
 * @param motor_id 电机 ID (1-4)
 * @return CAN 发送返回值，0 成功
 */
int dm4310_enable_motor(uint8_t motor_id);

/**
 * @brief 失能单台电机（发送 DISABLE 指令 + 清零 hold 增益）
 * @param motor_id 电机 ID (1-4)
 * @return CAN 发送返回值，0 成功
 */
int dm4310_disable_motor(uint8_t motor_id);

/**
 * @brief 设置单台电机零点（发送 ZERO 指令）
 * @param motor_id 电机 ID (1-4)
 * @return CAN 发送返回值，0 成功
 */
int dm4310_zero_motor(uint8_t motor_id);

/**
 * @brief 查询指定电机是否在线
 * @param motor_id 电机 ID（1-4）
 * @return true 在线，false 离线或 ID 无效
 */
bool dm4310_is_online(uint8_t motor_id);

/**
 * @brief 获取指定电机的状态指针
 * @param motor_id 电机 ID（1-4）
 * @return 电机状态结构体指针，ID 无效时返回 NULL
 */
const volatile struct dm4310_motor_status *dm4310_get(uint8_t motor_id);

/**
 * @brief 下发单台电机目标位置（叠加零点偏置 + 物理限幅）
 * @param motor_id  电机 ID（1-4）
 * @param target_kin 运动学目标位置（弧度），内部自动叠加 g_dm_offset
 * @return 0 成功，-EINVAL 表示 ID 无效
 */
int dm4310_set_pos_with_offset(uint8_t motor_id, float target_kin);

/**
 * @brief 设置单台电机力矩前馈
 * @param motor_id  电机 ID（1-4）
 * @param tau_nm    前馈力矩 (Nm)
 */
void dm4310_set_feedforward_tau(uint8_t motor_id, float tau_nm);

/**
 * @brief 获取单台电机当前位置保持目标
 * @param motor_id  电机 ID（1-4）
 * @return 目标位置 (rad)
 */
float dm4310_get_hold_pos(uint8_t motor_id);

/**
 * @brief 一键切入站立模式
 *
 * 将四台电机从拖动模式 (KP=0.01/KD=0.001) 切换到高刚度站立模式。
 * 以当前位置为初始目标，逐 tick 阶梯提升 KP/KD 至目标值 (默认 80/1.5)，
 * 避免增益突变导致过流或抖动。
 *
 * @param ramp_ticks  增益爬坡 tick 数（0=瞬切，建议 50-100）
 * @return 0 成功
 */
int dm4310_balance_enable(uint32_t ramp_ticks);

/* === 协议编解码辅助函数（暴露供测试使用） === */

void dm4310_pack_special(uint8_t tail, uint8_t data[8]);
void dm4310_pack_control(float pos, float vel, float kp, float kd, float tor, uint8_t data[8]);

#endif
```

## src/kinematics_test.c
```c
/**
 * @file kinematics_test.c
 * @brief 运动学正逆解单测 — Shell 命令 `test kin`
 *
 * 在实机上运行, 验证 IK⇄FK 一致性、边界条件、连续性。
 * 每个测试用例打印 PASS 或 FAIL, 最后汇总。
 *
 * 测试覆盖:
 *   1. IK→FK 往返一致性 (多采样点, elbow-up/down)
 *   2. FK 固定角度预期值
 *   3. h 边界 (H_MIN, H_MAX, H_SAFE_MIN)
 *   4. IK 连续性 (elbow 切换)
 *   5. 越界拒绝
 */

#include "linkage_kinematics.h"
#include "leg_control.h"

#include <math.h>
#include <stdio.h>
#include <string.h>

#include <zephyr/kernel.h>
#include <zephyr/shell/shell.h>

/* ================================================================
 *  测试框架 (轻量, 无依赖)
 * ================================================================ */

static int g_test_pass;
static int g_test_fail;
static const struct shell *g_sh;

#define TEST_ASSERT(cond, msg, ...) do { \
	if (cond) { \
		g_test_pass++; \
	} else { \
		g_test_fail++; \
		shell_print(g_sh, "  FAIL: " msg, ##__VA_ARGS__); \
	} \
} while (0)

#define TEST_SECTION(title) \
	shell_print(g_sh, "--- %s ---", title)

/* ================================================================
 *  测试用例
 * ================================================================ */

/** @brief IK→FK 往返: 随机采样 (h, phi), IK 解算后 FK 恢复, 误差 < 0.1mm/deg */
static void test_roundtrip(void)
{
	TEST_SECTION("IK→FK roundtrip");

	/* 测试点: (h_mm, phi_deg, elbow) */
	struct { float h; float phi; int elbow; } pts[] = {
		{ 60.0f,   0.0f, +1 },
		{ 80.0f,   0.0f, +1 },
		{ 100.0f,  0.0f, +1 },
		{ 80.0f,  20.0f, +1 },
		{ 80.0f, -20.0f, +1 },
		{ 120.0f, 30.0f, -1 },
		{ 150.0f, 10.0f, -1 },
		{ 200.0f,  0.0f, -1 },
		{ 60.0f,  40.0f, +1 },
		{ 100.0f, -30.0f, -1 },
	};

	for (size_t i = 0; i < sizeof(pts) / sizeof(pts[0]); i++) {
		float h_in = pts[i].h;
		float phi_in = pts[i].phi * M_PI / 180.0f;
		int elbow = pts[i].elbow;

		float ta, tb;
		lk_error_t e = lk_inverse(h_in, phi_in, elbow, NULL, &ta, &tb);
		TEST_ASSERT(e == LK_OK,
			"IK failed: h=%.1f phi=%.1f elbow=%d e=%d",
			(double)h_in, (double)(phi_in * 180.0f / M_PI),
			elbow, (int)e);
		if (e != LK_OK) continue;

		float h_out, phi_out;
		e = lk_forward(ta, tb, NULL, &h_out, &phi_out);
		TEST_ASSERT(e == LK_OK,
			"FK failed: ta=%.2f tb=%.2f e=%d",
			(double)(ta * 180.0f / M_PI),
			(double)(tb * 180.0f / M_PI), (int)e);

		float h_err = fabsf(h_out - h_in);
		float phi_err = fabsf(phi_out - phi_in);
		TEST_ASSERT(h_err < 0.5f && phi_err < 0.01f,
			"Roundtrip error: h_err=%.3f phi_err=%.4f (h=%.1f phi=%.1f)",
			(double)h_err, (double)phi_err,
			(double)h_in, (double)(phi_in * 180.0f / M_PI));
	}
}

/** @brief FK 验证: 已知机构帧角度对应的 h/phi */
static void test_fk_known(void)
{
	TEST_SECTION("FK known poses");

	/* cali 位姿: θa=-162.4°(OFFSET_A), θb=-10°(OFFSET_B)
	 * 对应 motor=0 时的机构帧角度, h 在工作空间内即可 */
	float ta_cali = LK_OFFSET_A;
	float tb_cali = LK_OFFSET_B;
	float h_cali, phi_cali;
	lk_error_t e = lk_forward(ta_cali, tb_cali, NULL, &h_cali, &phi_cali);
	TEST_ASSERT(e == LK_OK, "FK cali pose failed: e=%d", (int)e);

	/* cali 位姿 h 应在运动学可达范围内 */
	TEST_ASSERT(h_cali >= LK_H_MIN_MM && h_cali <= LK_H_MAX_MM,
		"FK cali h=%.1f out of workspace [%.0f, %.0f]",
		(double)h_cali,
		(double)LK_H_MIN_MM, (double)LK_H_MAX_MM);

	/* 垂直向下: ta ≈ -π/2 + delta, tb ≈ -π/2 + delta */
	float ta_down = -M_PI / 2.0f;
	float tb_down = -M_PI / 2.0f;
	float h_down, phi_down;
	e = lk_forward(ta_down, tb_down, NULL, &h_down, &phi_down);
	TEST_ASSERT(e == LK_OK, "FK vertical down failed");
	TEST_ASSERT(h_down > 20.0f && h_down < 240.0f,
		"FK vertical down h=%.1f out of range", (double)h_down);
}

/** @brief 边界测试: h 在极限附近 */
static void test_boundary(void)
{
	TEST_SECTION("Boundary conditions");

	float ta, tb;

	/* h 在最小工作空间 */
	lk_error_t e = lk_inverse(LK_H_MIN_MM + 1.0f, 0.0f, +1, NULL, &ta, &tb);
	TEST_ASSERT(e == LK_OK,
		"IK near h_min failed: h=%.1f e=%d",
		(double)(LK_H_MIN_MM + 1.0f), (int)e);

	/* h 在最大工作空间 */
	e = lk_inverse(LK_H_MAX_MM - 1.0f, 0.0f, -1, NULL, &ta, &tb);
	TEST_ASSERT(e == LK_OK,
		"IK near h_max failed: h=%.1f e=%d",
		(double)(LK_H_MAX_MM - 1.0f), (int)e);
}

/** @brief IK 拒绝越界输入 */
static void test_out_of_range(void)
{
	TEST_SECTION("Out-of-range rejection");

	float ta, tb;

	/* h 太小 */
	lk_error_t e = lk_inverse(10.0f, 0.0f, +1, NULL, &ta, &tb);
	TEST_ASSERT(e == LK_ERR_H_OUT_OF_RANGE,
		"h=10 should be rejected, got e=%d", (int)e);

	/* h 太大 */
	e = lk_inverse(300.0f, 0.0f, -1, NULL, &ta, &tb);
	TEST_ASSERT(e == LK_ERR_H_OUT_OF_RANGE,
		"h=300 should be rejected, got e=%d", (int)e);
}

/** @brief IK 连续性: lk_inverse_continuous 选离 prev 最近的分支 */
static void test_continuity(void)
{
	TEST_SECTION("IK continuity (elbow selection)");

	/* 在中间位置用两个 elbow 都有解, 测试连续性选择 */
	float prev_ta = -2.0f; /* ≈ -115° (elbow-up 偏好) */
	float prev_tb = -0.5f;

	float ta, tb;
	lk_error_t e = lk_inverse_continuous(80.0f, 0.0f,
					      prev_ta, prev_tb,
					      NULL, &ta, &tb);
	TEST_ASSERT(e == LK_OK, "IK continuous failed: e=%d", (int)e);

	/* 选中的解应更接近 prev */
	float dist_prev = fabsf(ta - prev_ta) + fabsf(tb - prev_tb);

	/* 对比另一个 elbow 分支 */
	float ta_other, tb_other;
	int other_elbow = (dist_prev > 1.0f) ? -1 : +1;

	/* 再测一次从 far 位置: 应选近的 */
	float prev_far = 0.0f; /* 远离典型 elbow-up 解 */
	e = lk_inverse_continuous(80.0f, 0.0f,
				  prev_far, prev_far,
				  NULL, &ta, &tb);
	TEST_ASSERT(e == LK_OK,
		"IK continuous (far start) failed: e=%d", (int)e);
	(void)dist_prev;
	(void)other_elbow;
	(void)ta_other;
	(void)tb_other;
}

/** @brief 关节限位检查 (leg_control.c 的 joint_within_limits) */
static void test_joint_limits(void)
{
	TEST_SECTION("Joint limits (via IK with safety margin)");

	/* 安全限位外的 h/phi 应被 IK 拒绝或 clamp */
	float ta, tb;

	/* h 在安全下限以下, leg_control 应 clamp 到 LK_H_SAFE_MIN */
	int ret = leg_move_to_left(30.0f, 0.0f);
	/* 期望: IK 成功 (内部 clamp 到 LK_H_SAFE_MIN=50mm) */
	/* 注意: bringup_done=0 时会走 hold position 流程, 测试用 IK 层检查即可 */
	(void)ret;

	/* h=80/phi=0 elbow=-1: θa≈-175°(within ±180) θb≈-33°(within -120~+30) */
	lk_error_t e = lk_inverse(80.0f, 0.0f, -1, NULL, &ta, &tb);
	TEST_ASSERT(e == LK_OK,
		"IK h=80 phi=0 should work, got e=%d", (int)e);

	/* theta 限位: 检查 lk_inverse 解算出的 theta_a/b 在理论范围内 */
	TEST_ASSERT(ta >= LK_THETA_A_MIN && ta <= LK_THETA_A_MAX,
		"theta_a=%.1f out of [%.1f, %.1f]",
		(double)(ta * 180.0f / M_PI),
		(double)(LK_THETA_A_MIN * 180.0f / M_PI),
		(double)(LK_THETA_A_MAX * 180.0f / M_PI));
	TEST_ASSERT(tb >= LK_THETA_B_MIN && tb <= LK_THETA_B_MAX,
		"theta_b=%.1f out of [%.1f, %.1f]",
		(double)(tb * 180.0f / M_PI),
		(double)(LK_THETA_B_MIN * 180.0f / M_PI),
		(double)(LK_THETA_B_MAX * 180.0f / M_PI));
}

/* ================================================================
 *  Shell 命令入口
 * ================================================================ */

static int cmd_test_kin(const struct shell *sh, size_t argc, char **argv)
{
	ARG_UNUSED(argc);
	ARG_UNUSED(argv);

	g_sh = sh;
	g_test_pass = 0;
	g_test_fail = 0;

	shell_print(sh, "=== Kinematics Unit Tests ===");

	test_roundtrip();
	test_fk_known();
	test_boundary();
	test_out_of_range();
	test_continuity();
	test_joint_limits();

	shell_print(sh, "=== Result: %d PASS, %d FAIL ===",
		    g_test_pass, g_test_fail);

	/* 清理 prev 状态, 避免污染实际控制 */
	leg_init_prev_left(0.0f, 0.0f);
	leg_init_prev_right(0.0f, 0.0f);

	return (g_test_fail == 0) ? 0 : -1;
}

SHELL_STATIC_SUBCMD_SET_CREATE(test_cmds,
	SHELL_CMD_ARG(kin, NULL, "test kin — IK/FK unit tests",
		      cmd_test_kin, 1, 0),
	SHELL_SUBCMD_SET_END
);

SHELL_CMD_REGISTER(test, &test_cmds, "Unit tests", NULL);
```

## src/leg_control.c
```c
/**
 * @file leg_control.c
 * @brief 腿足控制胶水层实现
 *
 * IK 解算 → 关节限位检查 → 力矩前馈 → dm4310_set_pos_with_offset
 * 对两个 elbow 分支都求解，只选关节限位内的，避免 wrap_pi 跨 ±180° 误判。
 */

#include "leg_control.h"
#include "linkage_kinematics.h"
#include "dm4310_motor.h"
#include "motor_debug.h"

#include <math.h>
#include <zephyr/sys/printk.h>

#define EST_FOOT_FORCE_N  0.0f  /* 暂时关闭前馈, 纯位置环测试直线 */
#define MOTOR_DELTA_LIMIT_RAD LK_MOTOR_MAX_DELTA_RAD
#define JOINT_MARGIN_RAD   LK_THETA_MARGIN_RAD

static float prev_ta_left, prev_tb_left;
static float prev_ta_right, prev_tb_right;

static void compute_feedforward(float h_mm, float phi_rad,
				float theta_a, float theta_b,
				uint8_t m1, uint8_t m2)
{
	float Px = -h_mm * sinf(phi_rad);
	float cos_tb = cosf(theta_b);
	dm4310_set_feedforward_tau(m1, -Px * EST_FOOT_FORCE_N / 1000.0f);
	dm4310_set_feedforward_tau(m2, -LK_L2_MM * cos_tb * EST_FOOT_FORCE_N / 1000.0f);
}

static bool joint_within_limits(float ta, float tb)
{
	if (ta < LK_THETA_A_MIN + JOINT_MARGIN_RAD || ta > LK_THETA_A_MAX - JOINT_MARGIN_RAD)
		return false;
	if (tb < LK_THETA_B_MIN + JOINT_MARGIN_RAD || tb > LK_THETA_B_MAX - JOINT_MARGIN_RAD)
		return false;
	return true;
}

/*
 * 弹性 IK: 尝试两个 elbow 分支，只保留关节限位内的解，
 * 选离 prev 最近的分支（不用 wrap，直接比绝对差）。
 */
static lk_error_t ik_safe(float h, float phi, float prev_ta, float prev_tb,
			  float *out_ta, float *out_tb)
{
	float ta_up, tb_up, ta_dn, tb_dn;
	bool up_ok = false, dn_ok = false;

	if (lk_inverse(h, phi, +1, NULL, &ta_up, &tb_up) == LK_OK &&
	    joint_within_limits(ta_up, tb_up))
		up_ok = true;

	if (lk_inverse(h, phi, -1, NULL, &ta_dn, &tb_dn) == LK_OK &&
	    joint_within_limits(ta_dn, tb_dn))
		dn_ok = true;

	if (!up_ok && !dn_ok)
		return LK_ERR_UNREACHABLE;

	if (up_ok && !dn_ok) {
		*out_ta = ta_up; *out_tb = tb_up;
		return LK_OK;
	}
	if (dn_ok && !up_ok) {
		*out_ta = ta_dn; *out_tb = tb_dn;
		return LK_OK;
	}

	/* 两个都合规 → 选离 prev 更近的 (绝对值距离, 不 wrap) */
	float d_up = fabsf(ta_up - prev_ta) + fabsf(tb_up - prev_tb);
	float d_dn = fabsf(ta_dn - prev_ta) + fabsf(tb_dn - prev_tb);

	if (d_up <= d_dn) {
		*out_ta = ta_up; *out_tb = tb_up;
	} else {
		*out_ta = ta_dn; *out_tb = tb_dn;
	}
	return LK_OK;
}

int leg_move_to_left(float h_mm, float phi_rad)
{
	float ta, tb;
	float h_clamped = h_mm;

	if (h_clamped < LK_H_SAFE_MIN) {
		static uint32_t warn_cnt;
		if ((warn_cnt++ % 500) == 0) {
			printk("WARNING: h=%.1f < %.0fmm, clamping\n",
			       (double)h_mm, (double)LK_H_SAFE_MIN);
		}
		h_clamped = LK_H_SAFE_MIN;
	}

	if (ik_safe(h_clamped, phi_rad, prev_ta_left, prev_tb_left, &ta, &tb) != LK_OK) {
		printk("IK FAIL L: h=%.1f phi=%.2f\n",
		       (double)h_clamped, (double)phi_rad);
		return -1;
	}

	prev_ta_left = ta;
	prev_tb_left = tb;

	float motor_a = lk_theta_a_to_m1(ta);
	float motor_b = lk_theta_b_to_m2(tb);

	float prev_a = dm4310_get_hold_pos(1);
	float prev_b = dm4310_get_hold_pos(2);
	/* 同比例缩放: 防止独立截断破坏 A/B 运动比例 → 末端走弧线 */
	float da = motor_a - prev_a;
	float db = motor_b - prev_b;
	float m = fmaxf(fabsf(da), fabsf(db));
	if (m > MOTOR_DELTA_LIMIT_RAD) {
		float s = MOTOR_DELTA_LIMIT_RAD / m;
		motor_a = prev_a + da * s;
		motor_b = prev_b + db * s;
	}

	compute_feedforward(h_clamped, phi_rad, ta, tb, 1, 2);
	dm4310_set_pos_with_offset(1, motor_a);
	dm4310_set_pos_with_offset(2, motor_b);
	telemetry_record_cmd(h_clamped, phi_rad);
	return 0;
}

int leg_move_to_right(float h_mm, float phi_rad)
{
	float ta, tb;
	float h_clamped = h_mm;

	if (h_clamped < LK_H_SAFE_MIN) {
		static uint32_t warn_cnt;
		if ((warn_cnt++ % 500) == 0) {
			printk("WARNING: h=%.1f < %dmm, clamping\n",
			       (double)h_mm, (int)LK_H_SAFE_MIN);
		}
		h_clamped = LK_H_SAFE_MIN;
	}

	/*
	 * 双腿 mechanism frame 的 +X 都指向身体内侧，脚在中间 → Px 同号。
	 * 不需要镜像 φ，直接用同一个 phi_rad。
	 */
	if (ik_safe(h_clamped, phi_rad, prev_ta_right, prev_tb_right, &ta, &tb) != LK_OK) {
		printk("IK FAIL R: h=%.1f phi=%.2f\n",
		       (double)h_clamped, (double)phi_rad);
		return -1;
	}

	prev_ta_right = ta;
	prev_tb_right = tb;

	float motor_a = lk_theta_a_to_m3(ta);
	float motor_b = lk_theta_b_to_m4(tb);

	float prev_a = dm4310_get_hold_pos(3);
	float prev_b = dm4310_get_hold_pos(4);
	float da = motor_a - prev_a;
	float db = motor_b - prev_b;
	float m = fmaxf(fabsf(da), fabsf(db));
	if (m > MOTOR_DELTA_LIMIT_RAD) {
		float s = MOTOR_DELTA_LIMIT_RAD / m;
		motor_a = prev_a + da * s;
		motor_b = prev_b + db * s;
	}

	compute_feedforward(h_clamped, phi_rad, ta, tb, 3, 4);
	dm4310_set_pos_with_offset(3, motor_a);
	dm4310_set_pos_with_offset(4, motor_b);
	return 0;
}

int leg_move_all(float h_mm, float phi_rad)
{
	int ret_l = leg_move_to_left(h_mm, phi_rad);
	int ret_r = leg_move_to_right(h_mm, phi_rad);

	static uint32_t dbg_cnt;
	if ((dbg_cnt++ % 50) == 0) {
		printk("LEG: h=%.1f phi=%.1f° | tgt M1=%.4f M2=%.4f M3=%.4f M4=%.4f\n",
		       (double)h_mm, (double)(phi_rad*180/M_PI),
		       (double)dm4310_get_hold_pos(1), (double)dm4310_get_hold_pos(2),
		       (double)dm4310_get_hold_pos(3), (double)dm4310_get_hold_pos(4));
	}

	return (ret_l != 0) ? ret_l : ret_r;
}

/* 直接设置腿位置 (无增量限制, Shell 调试用) */
int leg_set_left(float h_mm, float phi_rad)
{
	float ta, tb;
	float h_clamped = (h_mm < LK_H_SAFE_MIN) ? LK_H_SAFE_MIN : h_mm;

	if (ik_safe(h_clamped, phi_rad, prev_ta_left, prev_tb_left, &ta, &tb) != LK_OK)
		return -1;

	prev_ta_left = ta;
	prev_tb_left = tb;

	float motor_a = lk_theta_a_to_m1(ta);
	float motor_b = lk_theta_b_to_m2(tb);

	compute_feedforward(h_clamped, phi_rad, ta, tb, 1, 2);
	dm4310_set_pos_with_offset(1, motor_a);
	dm4310_set_pos_with_offset(2, motor_b);
	return 0;
}

int leg_set_right(float h_mm, float phi_rad)
{
	float ta, tb;
	float h_clamped = (h_mm < LK_H_SAFE_MIN) ? LK_H_SAFE_MIN : h_mm;

	if (ik_safe(h_clamped, phi_rad, prev_ta_right, prev_tb_right, &ta, &tb) != LK_OK)
		return -1;

	prev_ta_right = ta;
	prev_tb_right = tb;

	float motor_a = lk_theta_a_to_m3(ta);
	float motor_b = lk_theta_b_to_m4(tb);

	compute_feedforward(h_clamped, phi_rad, ta, tb, 3, 4);
	dm4310_set_pos_with_offset(3, motor_a);
	dm4310_set_pos_with_offset(4, motor_b);
	return 0;
}

void leg_init_prev_left(float ta, float tb)
{
	prev_ta_left = ta;
	prev_tb_left = tb;
}

void leg_init_prev_right(float ta, float tb)
{
	prev_ta_right = ta;
	prev_tb_right = tb;
}

/* 诊断: 只算不跑, 打印全链路 */
void leg_diag(float h_mm, float phi_rad)
{
	float h = (h_mm < LK_H_SAFE_MIN) ? LK_H_SAFE_MIN : h_mm;
	float ta_L, tb_L, ta_R, tb_R;

	/* 当前 FK */
	float cur_ta_L = lk_m1_to_theta_a(g_dm4310.motor[0].pos_rad);
	float cur_tb_L = lk_m2_to_theta_b(g_dm4310.motor[1].pos_rad);
	float cur_ta_R = lk_m3_to_theta_a(g_dm4310.motor[2].pos_rad);
	float cur_tb_R = lk_m4_to_theta_b(g_dm4310.motor[3].pos_rad);

	printk("=== DIAG h=%.1f phi=%.1f° ===\n",
	       (double)h_mm, (double)(phi_rad * 180.0 / M_PI));
	printk("Current FK:\n");
	printk("  L: ta=%.1f° tb=%.1f°  |  R: ta=%.1f° tb=%.1f°\n",
	       (double)(cur_ta_L * 180.0/M_PI), (double)(cur_tb_L * 180.0/M_PI),
	       (double)(cur_ta_R * 180.0/M_PI), (double)(cur_tb_R * 180.0/M_PI));
	printk("  L: ab=%.1f°  |  R: ab=%.1f°\n",
	       (double)((cur_tb_L-cur_ta_L)*180.0/M_PI),
	       (double)((cur_tb_R-cur_ta_R)*180.0/M_PI));
	printk("  M1=%.4f M2=%.4f | M3=%.4f M4=%.4f (motor rad)\n",
	       (double)g_dm4310.motor[0].pos_rad, (double)g_dm4310.motor[1].pos_rad,
	       (double)g_dm4310.motor[2].pos_rad, (double)g_dm4310.motor[3].pos_rad);

	/* IK: 左腿 */
	printk("IK Left:\n");
	float ta_up, tb_up, ta_dn, tb_dn;
	lk_error_t e_up = lk_inverse(h, phi_rad, +1, NULL, &ta_up, &tb_up);
	lk_error_t e_dn = lk_inverse(h, phi_rad, -1, NULL, &ta_dn, &tb_dn);
	printk("  up(+1): e=%d ta=%.1f° tb=%.1f° lim=%c\n",
	       e_up, (double)(ta_up*180/M_PI), (double)(tb_up*180/M_PI),
	       joint_within_limits(ta_up, tb_up) ? 'Y' : 'N');
	printk("  dn(-1): e=%d ta=%.1f° tb=%.1f° lim=%c\n",
	       e_dn, (double)(ta_dn*180/M_PI), (double)(tb_dn*180/M_PI),
	       joint_within_limits(ta_dn, tb_dn) ? 'Y' : 'N');

	lk_error_t eL = ik_safe(h, phi_rad, prev_ta_left, prev_tb_left, &ta_L, &tb_L);
	if (eL == LK_OK) {
		float m1 = lk_theta_a_to_m1(ta_L);
		float m2 = lk_theta_b_to_m2(tb_L);
		printk("  -> sel: ta=%.1f° tb=%.1f° ab=%.1f°\n",
		       (double)(ta_L*180/M_PI), (double)(tb_L*180/M_PI),
		       (double)((tb_L-ta_L)*180/M_PI));
		printk("  -> M1=%.4f M2=%.4f (motor rad)\n",
		       (double)m1, (double)m2);
	} else {
		printk("  -> IK FAIL: %d\n", eL);
	}

	/* IK: 右腿 */
	printk("IK Right:\n");
	e_up = lk_inverse(h, phi_rad, +1, NULL, &ta_up, &tb_up);
	e_dn = lk_inverse(h, phi_rad, -1, NULL, &ta_dn, &tb_dn);
	printk("  up(+1): e=%d ta=%.1f° tb=%.1f° lim=%c\n",
	       e_up, (double)(ta_up*180/M_PI), (double)(tb_up*180/M_PI),
	       joint_within_limits(ta_up, tb_up) ? 'Y' : 'N');
	printk("  dn(-1): e=%d ta=%.1f° tb=%.1f° lim=%c\n",
	       e_dn, (double)(ta_dn*180/M_PI), (double)(tb_dn*180/M_PI),
	       joint_within_limits(ta_dn, tb_dn) ? 'Y' : 'N');

	lk_error_t eR = ik_safe(h, phi_rad, prev_ta_right, prev_tb_right, &ta_R, &tb_R);
	if (eR == LK_OK) {
		float m3 = lk_theta_a_to_m3(ta_R);
		float m4 = lk_theta_b_to_m4(tb_R);
		printk("  -> sel: ta=%.1f° tb=%.1f° ab=%.1f°\n",
		       (double)(ta_R*180/M_PI), (double)(tb_R*180/M_PI),
		       (double)((tb_R-ta_R)*180/M_PI));
		printk("  -> M3=%.4f M4=%.4f (motor rad)\n",
		       (double)m3, (double)m4);
	} else {
		printk("  -> IK FAIL: %d\n", eR);
	}
	printk("=== END DIAG ===\n");
}
```
